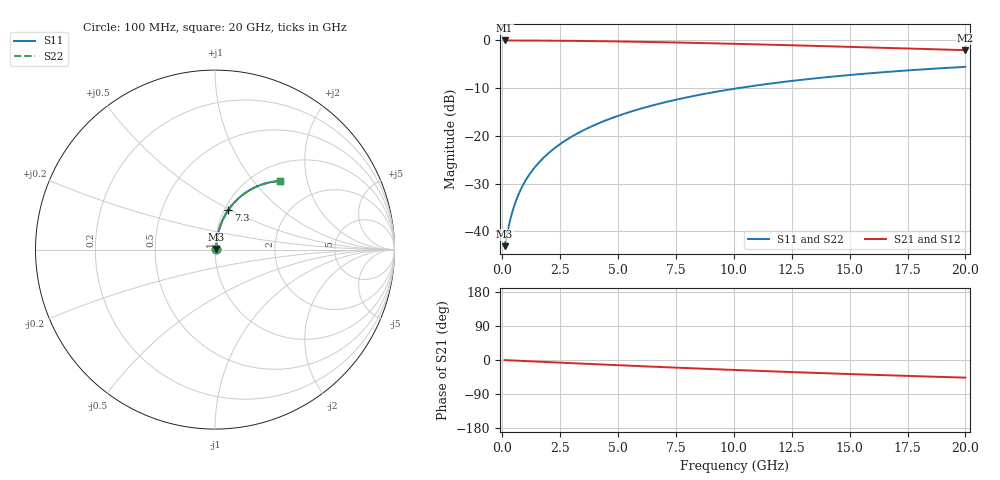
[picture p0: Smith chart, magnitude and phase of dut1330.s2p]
! Touchstone file exported from HFSS 2024.1.0
!  File:  C:/UserFiles/LocalFiles/RDL_TSV_Batchsim/temp_RDL_bottom_1330_1780369361.aedt
!  Generated:  11:05:14 AM Jun  2, 2026
!  Design:  RDL_bottom
!  Project:  temp_RDL_bottom_1330_1780369361
!  Setup:  Setup1
!  Solution:  Sweep
! Variables:
!  dtsv = 10.80580581um
!  hbump = 3um
!  htsv = 63.01um
!  ldown = 574.61um
!  lrdl = 100um
!  p = 40
!  p1 = 54.82um
!  rhole = 1um
!  t = 450um
!  tdown = 2.74um
!  trdl = 3.915915916um
!  wdown = 12.28um
!  wrdl = 20um
# GHz S MA R 50.000000
! Terminal data exported
! Port[1] = RDL1_T1
! Port[2] = RDL1_T2
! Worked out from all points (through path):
!   200 points, 100 MHz to 20 GHz, reference 50 ohm
!   highest |S21| = -0.05 dB at 100 MHz (marker M1); lowest = -2.1 dB at 20 GHz (marker M2)
!   group delay of S21, straight-line fit = 6.47 ps
!   lowest |S11| = -43.1 dB at 100 MHz (marker M3), VSWR 1.01, Z = 50.6 + j0.342 ohm
!   |S11| at or under -10 dB: start of sweep to 10.23 GHz
!   |S22| runs from -43.1 to -5.6 dB; largest |S21 - S12| = 3e-15
!   S11 on the Smith chart (normalised r, x): 100 MHz: 1.01, +0.01; 7.3 GHz: 1.04, +0.49; 20 GHz: 1.31, +1.38
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0.1  0.006992 28.9  0.9939 -0.3  0.9939 -0.3  0.006992 28.9
! Gamma 0 0 0 0
! Port Impedance 50 0 50 0
0.3  0.01193 57.8  0.9937 -0.9  0.9937 -0.9  0.01193 57.8
0.4  0.01492 64.0  0.9935 -1.2  0.9935 -1.2  0.01492 64.0
0.5  0.01802 68.0  0.9933 -1.4  0.9933 -1.4  0.01802 68.0
0.6  0.02116 70.7  0.9931 -1.7  0.9931 -1.7  0.02116 70.7
0.7  0.02433 72.7  0.9929 -2.0  0.9929 -2.0  0.02433 72.7
0.9  0.03069 75.2  0.9925 -2.6  0.9925 -2.6  0.03069 75.2
1.2  0.04026 77.4  0.9917 -3.4  0.9917 -3.4  0.04026 77.4
1.4  0.04665 78.2  0.9911 -4.0  0.9911 -4.0  0.04665 78.2
1.7  0.05626 78.9  0.9902 -4.8  0.9902 -4.8  0.05626 78.9
2.2  0.07231 79.3  0.9883 -6.2  0.9883 -6.2  0.0723 79.3
2.8  0.09157 79.1  0.9855 -7.8  0.9855 -7.8  0.09157 79.1
3.5  0.114 78.4  0.9816 -9.7  0.9816 -9.7  0.114 78.4
4.2  0.1363 77.4  0.9769 -11.6  0.9769 -11.6  0.1363 77.4
5  0.1616 76.0  0.9707 -13.8  0.9707 -13.8  0.1616 76.0
6.8  0.2173 72.5  0.954 -18.4  0.954 -18.4  0.2173 72.4
7.3  0.2324 71.4  0.9488 -19.7  0.9488 -19.7  0.2324 71.4
8.6  0.2706 68.7  0.9342 -22.9  0.9342 -22.9  0.2706 68.7
10.1  0.3126 65.5  0.9161 -26.5  0.9161 -26.5  0.3126 65.5
13.4  0.3964 58.7  0.8734 -33.8  0.8734 -33.8  0.3963 58.7
16.7  0.4675 52.3  0.8294 -40.5  0.8294 -40.5  0.4674 52.3
20  0.5264 46.5  0.7867 -46.5  0.7867 -46.5  0.5263 46.5
